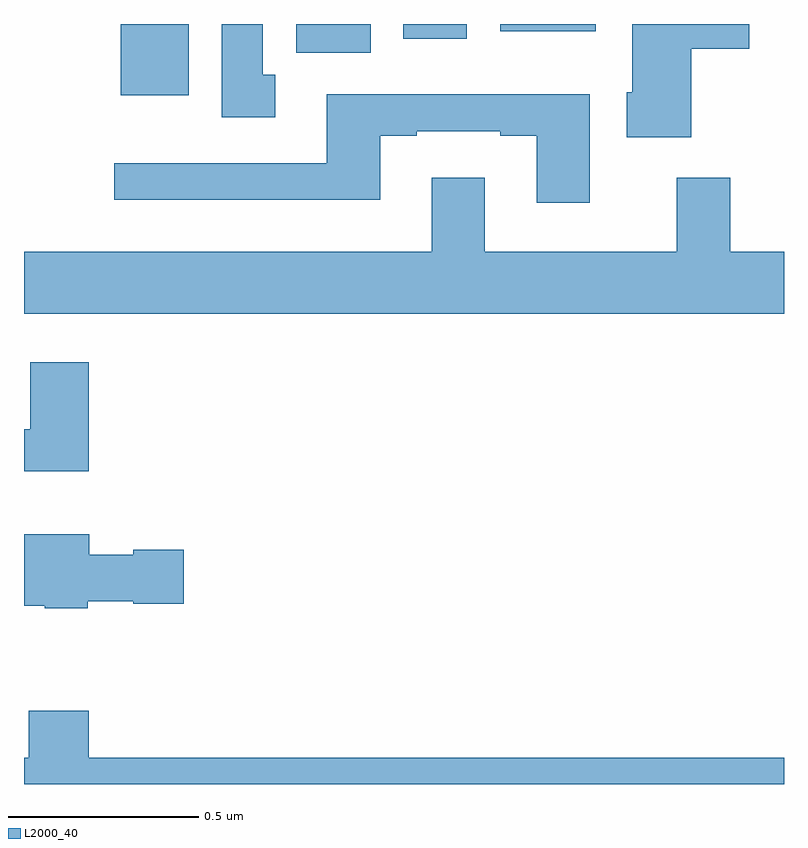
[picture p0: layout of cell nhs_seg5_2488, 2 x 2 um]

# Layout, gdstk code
import gdstk
lib = gdstk.Library(unit=1e-6, precision=1e-09)
def R(c, l, rs):  # rectangles x0, y0, x1, y1
    for r in rs: c.add(gdstk.rectangle(r[:2], r[2:], *l))
def P(c, l, *ps):  # polygons
    for p in ps: c.add(gdstk.Polygon(p, *l))
L2000_40 = (2000, 40)

nhs_seg5_2488 = lib.new_cell('nhs_seg5_2488')
R(nhs_seg5_2488, L2000_40, [(144.254,914.612,144.433,914.799), (144.717,914.724,144.913,914.799), (144.998,914.76,145.165,914.799), (145.253,914.78,145.504,914.799)])
P(nhs_seg5_2488, L2000_40, [(144.661,914.665),(144.628,914.665),(144.628,914.799),(144.521,914.799),(144.521,914.553),(144.661,914.553)],
  [(145.756,914.734),(145.909,914.734),(145.909,914.799),(145.601,914.799),(145.601,914.619),(145.586,914.619),(145.586,914.501),(145.756,914.501)],
  [(145.489,914.614),(144.797,914.614),(144.797,914.433),(144.237,914.433),(144.237,914.336),(144.937,914.336),(144.937,914.505),(145.033,914.505),(145.033,914.517),(145.253,914.517),(145.253,914.505),(145.349,914.505),(145.349,914.328),(145.489,914.328)],
  [(146,914.2),(145.858,914.2),(145.858,914.395),(145.718,914.395),(145.718,914.2),(145.213,914.2),(145.213,914.395),(145.073,914.395),(145.073,914.2),(144,914.2),(144,914.036),(146,914.036)],
  [(144.17,913.909),(144.017,913.909),(144.017,913.732),(144,913.732),(144,913.622),(144.17,913.622)],
  [(144.168,913.28),(144.288,913.28),(144.288,913.273),(144.421,913.273),(144.421,913.415),(144.288,913.415),(144.288,913.402),(144.172,913.402),(144.172,913.456),(144,913.456),(144,913.268),(144.054,913.268),(144.054,913.262),(144.168,913.262)],
  [(146,912.868),(144.17,912.868),(144.17,912.992),(144.013,912.992),(144.013,912.868),(144,912.868),(144,912.799),(146,912.799)])

lib.write_gds('nhs_seg5_2488.gds')
